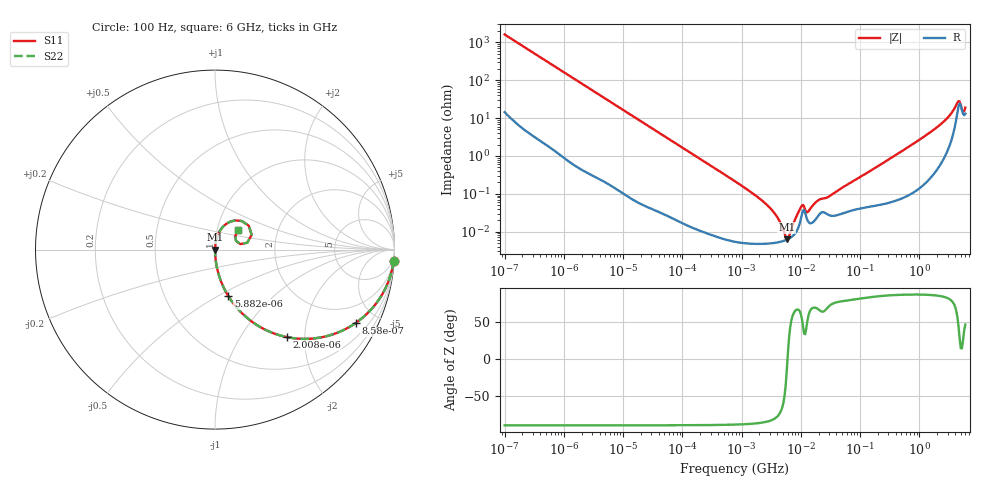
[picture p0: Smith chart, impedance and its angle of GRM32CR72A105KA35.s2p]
!Murata Part Number: GRM32CR72A105KA35
!These Parameters are Measured in Series Mode Connection
!Data Generated on Mar 30, 2021
!  o--ll--o
!Port1  Port2
!  o------o
!Operation Temp=25[degC], DC Bias Voltage=0[V]
!Freq. Start=100[Hz] Stop=6[GHz] 401[Steps]
# Hz S RI R 50
!Freq.(Hz) S11(Real) S11(Imag) S21(Real) S21(Imag) S12(Real) S12(Imag) S22(Real) S22(Imag)
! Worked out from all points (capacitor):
!   401 points, 100 Hz to 6 GHz, reference 50 ohm
!   read as one part in series: C = 978 nF near 109 Hz
!   lowest |Z| = 6.31 mohm at 5.809 MHz (marker M1)
!   series resonance near 5.966 MHz, so ESL is about 730 pH
!   S11 on the Smith chart (normalised r, x): 100 Hz: 1, -33; 858 Hz: 1.02, -3.81; 2.008 kHz: 1.01, -1.63; 5.882 kHz: 1.00, -0.56; 6 GHz: 1.26, +0.28
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100  0.9957 -0.0612  0.00431 0.0612  0.00431 0.0612  0.9957 -0.0612
383  0.9465 -0.222  0.0535 0.222  0.0535 0.222  0.9465 -0.222
858  0.7831 -0.4094  0.2169 0.4094  0.2169 0.4094  0.7831 -0.4094
2008  0.4005 -0.4874  0.5995 0.4874  0.5995 0.4874  0.4005 -0.4874
5882  0.074 -0.2587  0.926 0.2587  0.926 0.2587  0.074 -0.2587
40335  0.00201 -0.041  0.998 0.041  0.998 0.041  0.00201 -0.041
774597  5.82e-05 -0.00214  0.9999 0.00214  0.9999 0.00214  5.82e-05 -0.00214
2713602  4.83e-05 -0.000497  1 0.000497  1 0.000497  4.83e-05 -0.000497
5809218  6.11e-05 -1.57e-05  0.9999 1.57e-05  0.9999 1.57e-05  6.11e-05 -1.57e-05
6948629  7.18e-05 9.4e-05  0.9999 -9.4e-05  0.9999 -9.4e-05  7.18e-05 9.4e-05
9941735  0.000204 0.000376  0.9998 -0.000376  0.9998 -0.000376  0.000204 0.000376
1.087309e7  0.000363 0.000355  0.9996 -0.000355  0.9996 -0.000355  0.000363 0.000355
1.300572e7  0.000196 0.00026  0.9998 -0.00026  0.9998 -0.00026  0.000196 0.00026
1.555665e7  0.000171 0.000437  0.9998 -0.000437  0.9998 -0.000437  0.000171 0.000437
2.035112e7  0.000279 0.000637  0.9997 -0.000637  0.9997 -0.000637  0.000279 0.000637
2.911731e7  0.000278 0.000781  0.9997 -0.000781  0.9997 -0.000781  0.000278 0.000781
3.124326e8  0.000649 0.00824  0.9994 -0.00824  0.9994 -0.00824  0.000649 0.00824
2.048624e9  0.00804 0.0585  0.992 -0.0585  0.992 -0.0585  0.00804 0.0585
3.352442e9  0.0352 0.1162  0.9648 -0.1162  0.9648 -0.1162  0.0352 0.1162
4.385646e9  0.1492 0.1592  0.8508 -0.1592  0.8508 -0.1592  0.1492 0.1592
5.245841e9  0.1413 0.0304  0.8587 -0.0304  0.8587 -0.0304  0.1413 0.0304
6e9  0.1289 0.1067  0.8711 -0.1067  0.8711 -0.1067  0.1289 0.1067
